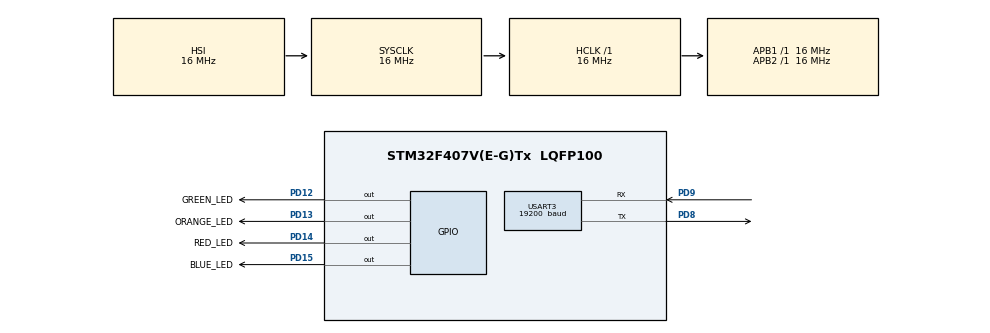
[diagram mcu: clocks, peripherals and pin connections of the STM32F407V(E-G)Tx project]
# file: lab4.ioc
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Mcu.Family=STM32F4
Mcu.Name=STM32F407V(E-G)Tx
Mcu.Package=LQFP100
NVIC.PriorityGroup=NVIC_PRIORITYGROUP_4
PD12.GPIO_Label=GREEN_LED
PD12.Signal=GPIO_Output
PD13.GPIO_Label=ORANGE_LED
PD13.Signal=GPIO_Output
PD14.GPIO_Label=RED_LED
PD14.Signal=GPIO_Output
PD15.GPIO_Label=BLUE_LED
PD15.Signal=GPIO_Output
PD8.Mode=Asynchronous
PD8.Signal=USART3_TX
PD9.Mode=Asynchronous
PD9.Signal=USART3_RX
ProjectManager.HeapSize=0x200
ProjectManager.StackSize=0x400
ProjectManager.TargetToolchain=STM32CubeIDE
RCC.AHBFreq_Value=16000000
RCC.APB1Freq_Value=16000000
RCC.APB2Freq_Value=16000000
RCC.CortexFreq_Value=16000000
RCC.HSE_VALUE=25000000
RCC.HSI_VALUE=16000000
RCC.LSE_VALUE=32768
RCC.SYSCLKFreq_VALUE=16000000
RCC.VCOOutputFreq_Value=192000000
USART3.BaudRate=19200 
USART3.VirtualMode=VM_ASYNC
board=custom

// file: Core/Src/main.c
/* USER CODE BEGIN Header */
/**
  ******************************************************************************
  * @file           : main.c
  * @brief          : Main program body
  ******************************************************************************
  * @attention
  *
  * Copyright (c) 2025 STMicroelectronics.
  * All rights reserved.
  *
  * This software is licensed under terms that can be found in the LICENSE file
  * in the root directory of this software component.
  * If no LICENSE file comes with this software, it is provided AS-IS.
  *
  ******************************************************************************
  */
/* USER CODE END Header */
#include "main.h"

UART_HandleTypeDef huart3;

void SystemClock_Config(void);
static void MX_GPIO_Init(void);
static void MX_USART3_UART_Init(void);

/* USER CODE BEGIN 0 */
#define UART_SEND(text) HAL_UART_Transmit(&huart3, (uint8_t *)(text), sizeof(text) - 1, 100)
/* USER CODE END 0 */

int main(void)
{

  /* MCU Configuration--------------------------------------------------------*/

  /* Reset of all peripherals, Initializes the Flash interface and the Systick. */
  HAL_Init();

  /* Configure the system clock */
  SystemClock_Config();

  /* Initialize all configured peripherals */
  MX_GPIO_Init();
  MX_USART3_UART_Init();
  /* USER CODE BEGIN 2 */
  uint8_t ComBuf=0;
  /* USER CODE END 2 */

  /* Infinite loop */
  /* USER CODE BEGIN WHILE */
  while (1)
  {

	  HAL_StatusTypeDef res;
	  res = HAL_UART_Receive(&huart3,&ComBuf,1,10);
	  if(res == HAL_OK){
		  switch (ComBuf)
		  {
		  case '1':
		      HAL_GPIO_TogglePin(GPIOD, GREEN_LED_Pin);

		      if (HAL_GPIO_ReadPin(GPIOD, GREEN_LED_Pin) == GPIO_PIN_SET) {
		          UART_SEND(" GREEN LED ON\r\n");
		      } else {
		          UART_SEND(" GREEN LED OFF\r\n");
		      }
		      break;

		  case '2':
		      HAL_GPIO_TogglePin(GPIOD, ORANGE_LED_Pin);

		      if (HAL_GPIO_ReadPin(GPIOD, ORANGE_LED_Pin) == GPIO_PIN_SET) {
		          UART_SEND(" ORANGE LED ON\r\n");
		      } else {
		          UART_SEND(" ORANGE LED OFF\r\n");
		      }
		      break;

		  case '3':
		      HAL_GPIO_TogglePin(GPIOD, RED_LED_Pin);

		      if (HAL_GPIO_ReadPin(GPIOD, RED_LED_Pin) == GPIO_PIN_SET) {
		          UART_SEND(" RED LED ON\r\n");
		      } else {
		          UART_SEND(" RED LED OFF\r\n");
		      }
		      break;

		  case '4':
		      HAL_GPIO_TogglePin(GPIOD, BLUE_LED_Pin);

		      if (HAL_GPIO_ReadPin(GPIOD, BLUE_LED_Pin) == GPIO_PIN_SET) {
		          UART_SEND(" BLUE LED ON\r\n");
		      } else {
		          UART_SEND(" BLUE LED OFF\r\n");
		      }
		      break;

		  case '5':
		      HAL_GPIO_WritePin(GPIOD, GREEN_LED_Pin | ORANGE_LED_Pin | RED_LED_Pin | BLUE_LED_Pin, GPIO_PIN_SET);
		      UART_SEND(" ALL LEDS ON\r\n");
		      break;

		  case '6':
		      HAL_GPIO_WritePin(GPIOD, GREEN_LED_Pin | ORANGE_LED_Pin | RED_LED_Pin | BLUE_LED_Pin, GPIO_PIN_RESET);
		      UART_SEND(" ALL LEDS OFF\r\n");
		      break;

		  default:
		      UART_SEND(" Command rejected\r\n");
		      break;
		  }
	  }

    /* USER CODE END WHILE */

  }
}

void SystemClock_Config(void)
{
  RCC_OscInitTypeDef RCC_OscInitStruct = {0};
  RCC_ClkInitTypeDef RCC_ClkInitStruct = {0};

  /** Configure the main internal regulator output voltage
  */
  __HAL_RCC_PWR_CLK_ENABLE();
  __HAL_PWR_VOLTAGESCALING_CONFIG(PWR_REGULATOR_VOLTAGE_SCALE1);

  /** Initializes the RCC Oscillators according to the specified parameters
  * in the RCC_OscInitTypeDef structure.
  */
  RCC_OscInitStruct.OscillatorType = RCC_OSCILLATORTYPE_HSI;
  RCC_OscInitStruct.HSIState = RCC_HSI_ON;
  RCC_OscInitStruct.HSICalibrationValue = RCC_HSICALIBRATION_DEFAULT;
  RCC_OscInitStruct.PLL.PLLState = RCC_PLL_NONE;
  if (HAL_RCC_OscConfig(&RCC_OscInitStruct) != HAL_OK)
  {
    Error_Handler();
  }

  /** Initializes the CPU, AHB and APB buses clocks
  */
  RCC_ClkInitStruct.ClockType = RCC_CLOCKTYPE_HCLK|RCC_CLOCKTYPE_SYSCLK
                              |RCC_CLOCKTYPE_PCLK1|RCC_CLOCKTYPE_PCLK2;
  RCC_ClkInitStruct.SYSCLKSource = RCC_SYSCLKSOURCE_HSI;
  RCC_ClkInitStruct.AHBCLKDivider = RCC_SYSCLK_DIV1;
  RCC_ClkInitStruct.APB1CLKDivider = RCC_HCLK_DIV1;
  RCC_ClkInitStruct.APB2CLKDivider = RCC_HCLK_DIV1;

  if (HAL_RCC_ClockConfig(&RCC_ClkInitStruct, FLASH_LATENCY_0) != HAL_OK)
  {
    Error_Handler();
  }
}

static void MX_USART3_UART_Init(void)
{

  huart3.Instance = USART3;
  huart3.Init.BaudRate = 19200 ;
  huart3.Init.WordLength = UART_WORDLENGTH_8B;
  huart3.Init.StopBits = UART_STOPBITS_1;
  huart3.Init.Parity = UART_PARITY_NONE;
  huart3.Init.Mode = UART_MODE_TX_RX;
  huart3.Init.HwFlowCtl = UART_HWCONTROL_NONE;
  huart3.Init.OverSampling = UART_OVERSAMPLING_16;
  if (HAL_UART_Init(&huart3) != HAL_OK)
  {
    Error_Handler();
  }

}

static void MX_GPIO_Init(void)
{
  GPIO_InitTypeDef GPIO_InitStruct = {0};

  /* GPIO Ports Clock Enable */
  __HAL_RCC_GPIOD_CLK_ENABLE();

  /*Configure GPIO pin Output Level */
  HAL_GPIO_WritePin(GPIOD, GREEN_LED_Pin|ORANGE_LED_Pin|RED_LED_Pin|BLUE_LED_Pin, GPIO_PIN_RESET);

  /*Configure GPIO pins : GREEN_LED_Pin ORANGE_LED_Pin RED_LED_Pin BLUE_LED_Pin */
  GPIO_InitStruct.Pin = GREEN_LED_Pin|ORANGE_LED_Pin|RED_LED_Pin|BLUE_LED_Pin;
  GPIO_InitStruct.Mode = GPIO_MODE_OUTPUT_PP;
  GPIO_InitStruct.Pull = GPIO_NOPULL;
  GPIO_InitStruct.Speed = GPIO_SPEED_FREQ_LOW;
  HAL_GPIO_Init(GPIOD, &GPIO_InitStruct);

}

void Error_Handler(void)
{
  __disable_irq();
  while (1)
  {
  }
}
